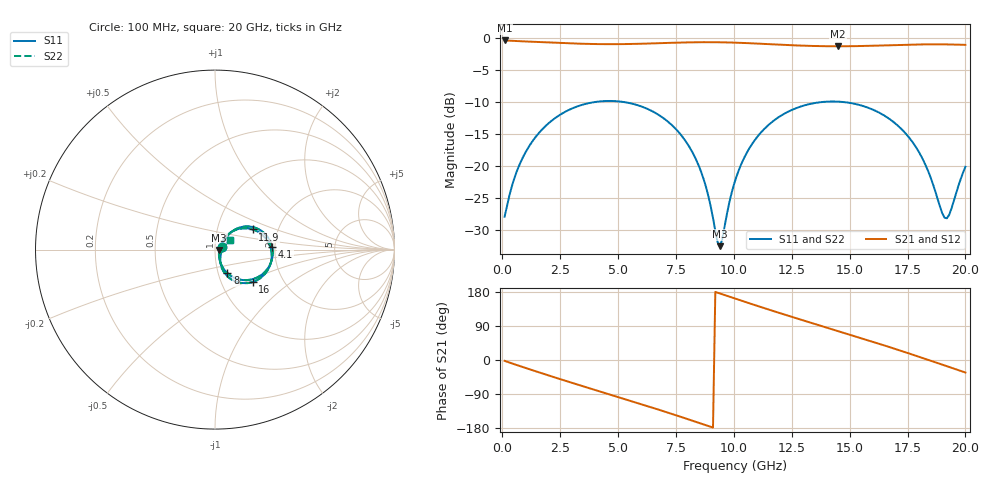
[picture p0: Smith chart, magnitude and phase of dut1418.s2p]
! Touchstone file exported from HFSS 2026.1.0
!  File:  C:/ffzhzh/LocalFiles/Ansys_Project_Files/temp_train_TSV_RDL_1418_1783354106_50076.aedt
!  Generated:  12:19:23 AM Jul  7, 2026
!  Design:  TSV_RDL
!  Project:  temp_train_TSV_RDL_1418_1783354106_50076
! Variables:
!  h_bsmrdl = 2.07um
!  h_ox = 20um
!  h_rdl = 5um
!  h_sub = 70.03um
!  h_tmrdl = 3.16um
!  h_tsv = 70.03um
!  h_via = 3um
!  l_bsmrdl = 679.67um
!  l_sub = 6448.41um
!  l_tmrdl = 969.2um
!  m_sub = 200um
!  pitch = 38.11um
!  r_tsv = 14.45um
!  s_tmrdl = 10um
!  w_bsmrdl = 16.16um
!  w_sub = 500um
!  w_tmrdl = 28.04um
!  x_tsv_center1 = 983.22um
!  x_tsv_center2 = 1679.05um
!  x_tsv_center3 = 2676.29um
!  x_tsv_center4 = 3372.12um
!  x_tsv_center5 = 4369.36um
!  x_tsv_center6 = 5065.19um
# GHz S MA R 50.000000
! Terminal data exported
! Port[1] = TM_RDL1_1_T1
! Port[2] = TM_RDL5_1_T1
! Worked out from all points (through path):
!   200 points, 100 MHz to 20 GHz, reference 50 ohm
!   highest |S21| = -0.33 dB at 100 MHz (marker M1); lowest = -1.2 dB at 14.5 GHz (marker M2)
!   group delay of S21, straight-line fit = 54.2 ps
!   lowest |S11| = -32.6 dB at 9.4 GHz (marker M3), VSWR 1.05, Z = 52.4 - j0.183 ohm
!   |S11| at or under -10 dB: start of sweep to 3.978 GHz; 5.267 GHz to 13.78 GHz (8.513 GHz wide, 89.4 % of centre); 14.75 GHz to end of sweep
!   |S22| runs from -32.3 to -9.8 dB; largest |S21 - S12| = 1.7e-14
!   S11 on the Smith chart (normalised r, x): 100 MHz: 1.08, +0.03; 4.1 GHz: 1.93, +0.07; 8 GHz: 1.11, -0.30; 11.9 GHz: 1.48, +0.35; 16 GHz: 1.40, -0.55; 20 GHz: 1.18, +0.12
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0.1  0.03991 19.6  0.9628 -2.3  0.9628 -2.3  0.03991 19.6
! Gamma 0 0 0 0
! Port Impedance 50 0 50 0
0.6  0.08786 46.8  0.9524 -12.8  0.9524 -12.8  0.08787 46.8
1.3  0.1557 45.3  0.9405 -26.9  0.9405 -26.9  0.1557 45.3
2.3  0.2383 32.3  0.9235 -46.6  0.9235 -46.6  0.2383 32.3
3.5  0.3028 13.1  0.9066 -69.6  0.9066 -69.6  0.3028 13.1
4.1  0.3185 3.0  0.9018 -80.8  0.9018 -80.8  0.3185 3.0
5.5  0.3106 -20.8  0.9032 -107.0  0.9032 -107.0  0.3105 -20.8
6.8  0.2479 -43.2  0.9167 -132.0  0.9167 -132.0  0.2478 -43.1
8  0.1484 -62.3  0.9298 -155.9  0.9298 -155.9  0.1483 -62.1
8.7  0.07818 -67.6  0.9332 -170.1  0.9332 -170.1  0.07825 -67.1
9.4  0.02343 -4.3  0.9317 175.5  0.9317 175.5  0.02428 -4.1
10.1  0.08098 50.9  0.9249 161.2  0.9249 161.2  0.08141 50.2
10.8  0.1495 45.2  0.9141 147.1  0.9141 147.1  0.1498 44.8
11.9  0.2386 28.1  0.8937 125.4  0.8937 125.4  0.2389 27.8
13.4  0.3088 2.8  0.8718 97.0  0.8718 97.0  0.309 2.5
14.5  0.3189 -15.7  0.8667 76.5  0.8667 76.5  0.3191 -16.0
16  0.2762 -40.8  0.8753 48.1  0.8753 48.1  0.2762 -41.1
16.7  0.2347 -52.1  0.8829 34.5  0.8829 34.5  0.2347 -52.5
18  0.1276 -68.5  0.8954 8.4  0.8954 8.4  0.1274 -69.1
19.1  0.0392 -27.9  0.8968 -14.3  0.8968 -14.3  0.03833 -28.3
19.3  0.0413 -0.6  0.8958 -18.5  0.8958 -18.5  0.04047 -0.4
20  0.09826 31.5  0.8892 -33.0  0.8892 -33.0  0.09794 31.8
